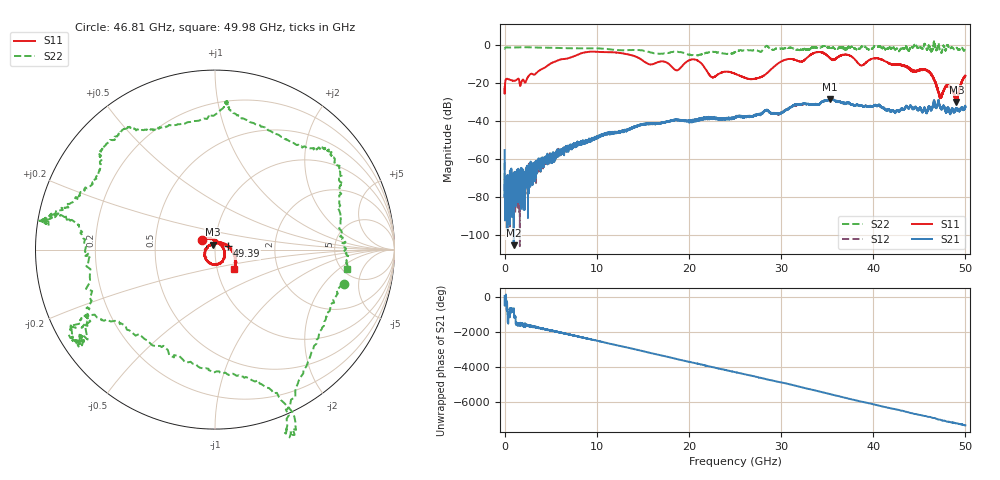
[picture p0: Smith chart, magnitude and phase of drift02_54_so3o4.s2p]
!Created with skrf (http://scikit-rf.org).
# Hz S RI R 50.0
!freq ReS11 ImS11 ReS21 ImS21 ReS12 ImS12 ReS22 ImS22
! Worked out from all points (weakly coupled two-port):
!   10001 points, 300 kHz to 50 GHz, reference 50 ohm
!   highest |S21| = -28.50 dB at 35.32 GHz (marker M1); lowest = -105.5 dB at 990.3 MHz (marker M2)
!   lowest |S11| = -30.1 dB at 49.03 GHz (marker M3), VSWR 1.06, Z = 48.6 + j2.73 ohm
!   |S11| at or under -10 dB: start of sweep to 4.957 GHz; 21.38 GHz to 29.63 GHz (8.249 GHz wide, 32.3 % of centre); 41.82 GHz to end of sweep (the widest 3 of 9)
!   |S22| runs from -5.7 to 2.2 dB; largest |S21 - S12| = 0.0034
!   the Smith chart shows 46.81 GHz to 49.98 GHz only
!   S11 on the Smith chart (normalised r, x): 46.81 GHz: 0.86, +0.09; 49.39 GHz: 1.15, +0.05; 49.98 GHz: 1.20, -0.26
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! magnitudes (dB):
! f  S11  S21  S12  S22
! 300 kHz  -22.5  -55.4  -62.0  -2.0
! 255.3 MHz  -17.9  -71.1  -80.5  -1.4
! 990.3 MHz  -19.0  -105.5  -70.6  -1.5
! 8.335 GHz  -4.5  -51.9  -51.8  -1.9
! 16.67 GHz  -9.1  -41.6  -41.4  -4.7
! 18.7 GHz  -13.5  -39.7  -39.6  -3.7
! 20.6 GHz  -7.7  -40.2  -39.5  -5.7
! 22.51 GHz  -17.1  -39.0  -38.6  -3.7
! 25 GHz  -15.3  -38.2  -38.2  -3.9
! 27.47 GHz  -17.6  -36.9  -36.8  -3.2
! 30.22 GHz  -8.3  -35.4  -35.1  -2.0
! 33.34 GHz  -4.9  -31.3  -31.3  -1.6
! 35.32 GHz  -7.1  -28.5  -28.6  -1.3
! 41.67 GHz  -9.7  -34.0  -34.2  -1.9
! 45.8 GHz  -13.4  -35.3  -35.2  -2.5
! 46.81 GHz  -21.0  -33.2  -33.3  -2.6
! 47.27 GHz  -27.1  -32.8  -32.7  -3.2
! 48.14 GHz  -21.7  -33.3  -33.2  -0.8
! 49.03 GHz  -30.1  -33.9  -33.7  -1.9
! 49.39 GHz  -22.8  -34.0  -34.1  -2.5
! 49.98 GHz  -16.5  -32.0  -32.7  -2.5
! 50 GHz  -16.4  -32.8  -32.6  -2.6
